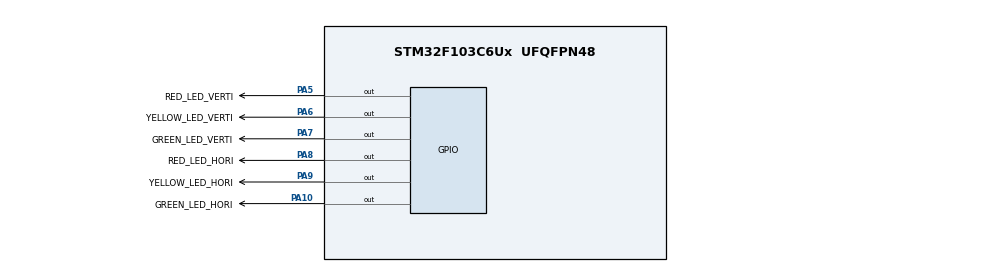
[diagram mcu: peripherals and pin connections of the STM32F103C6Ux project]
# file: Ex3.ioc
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Mcu.Family=STM32F1
Mcu.Name=STM32F103C6Ux
Mcu.Package=UFQFPN48
NVIC.PriorityGroup=NVIC_PRIORITYGROUP_4
PA10.GPIO_Label=GREEN_LED_HORI
PA10.Signal=GPIO_Output
PA5.GPIO_Label=RED_LED_VERTI
PA5.Signal=GPIO_Output
PA6.GPIO_Label=YELLOW_LED_VERTI
PA6.Signal=GPIO_Output
PA7.GPIO_Label=GREEN_LED_VERTI
PA7.Signal=GPIO_Output
PA8.GPIO_Label=RED_LED_HORI
PA8.Signal=GPIO_Output
PA9.GPIO_Label=YELLOW_LED_HORI
PA9.Signal=GPIO_Output
ProjectManager.HeapSize=0x200
ProjectManager.StackSize=0x400
ProjectManager.TargetToolchain=STM32CubeIDE
RCC.APB1Freq_Value=8000000
RCC.APB2Freq_Value=8000000
VP_SYS_VS_ND.Mode=No_Debug
board=custom

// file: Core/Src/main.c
/* USER CODE BEGIN Header */
/**
  ******************************************************************************
  * @file           : main.c
  * @brief          : Main program body
  ******************************************************************************
  * @attention
  *
  * Copyright (c) 2026 STMicroelectronics.
  * All rights reserved.
  *
  * This software is licensed under terms that can be found in the LICENSE file
  * in the root directory of this software component.
  * If no LICENSE file comes with this software, it is provided AS-IS.
  *
  ******************************************************************************
  */
/* USER CODE END Header */
#include "main.h"

void SystemClock_Config(void);
static void MX_GPIO_Init(void);

int main(void)
{

  /* MCU Configuration--------------------------------------------------------*/

  /* Reset of all peripherals, Initializes the Flash interface and the Systick. */
  HAL_Init();

  /* Configure the system clock */
  SystemClock_Config();

  /* Initialize all configured peripherals */
  MX_GPIO_Init();

  /* Infinite loop */
  /* USER CODE BEGIN WHILE */
  while (1)
  {
	  //Vertical LED
	  HAL_GPIO_WritePin(RED_LED_VERTI_GPIO_Port , RED_LED_VERTI_Pin , GPIO_PIN_SET);
	  HAL_GPIO_WritePin(YELLOW_LED_VERTI_GPIO_Port , YELLOW_LED_VERTI_Pin , GPIO_PIN_RESET);
	  HAL_GPIO_WritePin(GREEN_LED_VERTI_GPIO_Port , GREEN_LED_VERTI_Pin , GPIO_PIN_RESET);
	  //Horizontal LED
	  HAL_GPIO_WritePin(RED_LED_HORI_GPIO_Port , RED_LED_HORI_Pin , GPIO_PIN_RESET);
	  HAL_GPIO_WritePin(YELLOW_LED_HORI_GPIO_Port , YELLOW_LED_HORI_Pin , GPIO_PIN_RESET);
	  HAL_GPIO_WritePin(GREEN_LED_HORI_GPIO_Port , GREEN_LED_HORI_Pin , GPIO_PIN_SET);

	  HAL_Delay(3000);

	  HAL_GPIO_TogglePin( YELLOW_LED_HORI_GPIO_Port , YELLOW_LED_HORI_Pin );
	  HAL_GPIO_TogglePin( GREEN_LED_HORI_GPIO_Port , GREEN_LED_HORI_Pin );

	  HAL_Delay(2000);

	  HAL_GPIO_TogglePin( YELLOW_LED_HORI_GPIO_Port , YELLOW_LED_HORI_Pin );
	  HAL_GPIO_TogglePin( RED_LED_HORI_GPIO_Port , RED_LED_HORI_Pin );

	  HAL_GPIO_TogglePin( RED_LED_VERTI_GPIO_Port , RED_LED_VERTI_Pin );
	  HAL_GPIO_TogglePin( GREEN_LED_VERTI_GPIO_Port , GREEN_LED_VERTI_Pin );

	  HAL_Delay(3000);

	  HAL_GPIO_TogglePin( YELLOW_LED_VERTI_GPIO_Port , YELLOW_LED_VERTI_Pin );
	  HAL_GPIO_TogglePin( GREEN_LED_VERTI_GPIO_Port , GREEN_LED_VERTI_Pin );

	  HAL_Delay(2000);
    /* USER CODE END WHILE */

  }
}

void SystemClock_Config(void)
{
  RCC_OscInitTypeDef RCC_OscInitStruct = {0};
  RCC_ClkInitTypeDef RCC_ClkInitStruct = {0};

  /** Initializes the RCC Oscillators according to the specified parameters
  * in the RCC_OscInitTypeDef structure.
  */
  RCC_OscInitStruct.OscillatorType = RCC_OSCILLATORTYPE_HSI;
  RCC_OscInitStruct.HSIState = RCC_HSI_ON;
  RCC_OscInitStruct.HSICalibrationValue = RCC_HSICALIBRATION_DEFAULT;
  RCC_OscInitStruct.PLL.PLLState = RCC_PLL_NONE;
  if (HAL_RCC_OscConfig(&RCC_OscInitStruct) != HAL_OK)
  {
    Error_Handler();
  }

  /** Initializes the CPU, AHB and APB buses clocks
  */
  RCC_ClkInitStruct.ClockType = RCC_CLOCKTYPE_HCLK|RCC_CLOCKTYPE_SYSCLK
                              |RCC_CLOCKTYPE_PCLK1|RCC_CLOCKTYPE_PCLK2;
  RCC_ClkInitStruct.SYSCLKSource = RCC_SYSCLKSOURCE_HSI;
  RCC_ClkInitStruct.AHBCLKDivider = RCC_SYSCLK_DIV1;
  RCC_ClkInitStruct.APB1CLKDivider = RCC_HCLK_DIV1;
  RCC_ClkInitStruct.APB2CLKDivider = RCC_HCLK_DIV1;

  if (HAL_RCC_ClockConfig(&RCC_ClkInitStruct, FLASH_LATENCY_0) != HAL_OK)
  {
    Error_Handler();
  }
}

static void MX_GPIO_Init(void)
{
  GPIO_InitTypeDef GPIO_InitStruct = {0};

  /* GPIO Ports Clock Enable */
  __HAL_RCC_GPIOA_CLK_ENABLE();

  /*Configure GPIO pin Output Level */
  HAL_GPIO_WritePin(GPIOA, RED_LED_VERTI_Pin|YELLOW_LED_VERTI_Pin|GREEN_LED_VERTI_Pin|RED_LED_HORI_Pin
                          |YELLOW_LED_HORI_Pin|GREEN_LED_HORI_Pin, GPIO_PIN_RESET);

  /*Configure GPIO pins : RED_LED_VERTI_Pin YELLOW_LED_VERTI_Pin GREEN_LED_VERTI_Pin RED_LED_HORI_Pin
                           YELLOW_LED_HORI_Pin GREEN_LED_HORI_Pin */
  GPIO_InitStruct.Pin = RED_LED_VERTI_Pin|YELLOW_LED_VERTI_Pin|GREEN_LED_VERTI_Pin|RED_LED_HORI_Pin
                          |YELLOW_LED_HORI_Pin|GREEN_LED_HORI_Pin;
  GPIO_InitStruct.Mode = GPIO_MODE_OUTPUT_PP;
  GPIO_InitStruct.Pull = GPIO_NOPULL;
  GPIO_InitStruct.Speed = GPIO_SPEED_FREQ_LOW;
  HAL_GPIO_Init(GPIOA, &GPIO_InitStruct);

}

void Error_Handler(void)
{
  __disable_irq();
  while (1)
  {
  }
}
